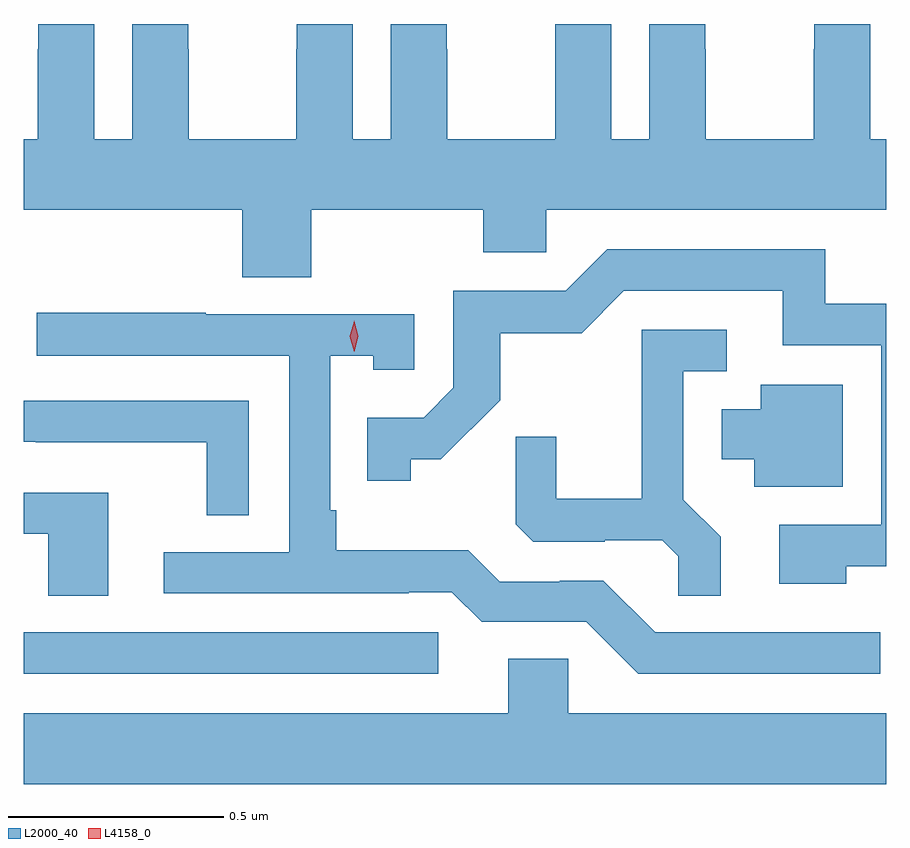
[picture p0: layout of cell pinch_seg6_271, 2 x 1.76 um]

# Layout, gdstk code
import gdstk
lib = gdstk.Library(unit=1e-6, precision=1e-09)
def R(c, l, rs):  # rectangles x0, y0, x1, y1
    for r in rs: c.add(gdstk.rectangle(r[:2], r[2:], *l))
def P(c, l, *ps):  # polygons
    for p in ps: c.add(gdstk.Polygon(p, *l))
L2000_40 = (2000, 40)
L4158_0 = (4158, 0)

pinch_seg6_271 = lib.new_cell('pinch_seg6_271')
R(pinch_seg6_271, L2000_40, [(780.345,986.22,781.306,986.316)])
P(pinch_seg6_271, L2000_40, [(781.011,987.296),(781.411,987.296),(781.411,987.198),(781.557,987.198),(781.557,987.296),(782.345,987.296),(782.345,987.46),(782.308,987.46),(782.308,987.727),(782.178,987.727),(782.178,987.668),(782.177,987.668),(782.177,987.46),(781.927,987.46),(781.927,987.668),(781.926,987.668),(781.926,987.727),(781.796,987.727),(781.796,987.46),(781.708,987.46),(781.708,987.727),(781.578,987.727),(781.578,987.668),(781.577,987.668),(781.577,987.46),(781.327,987.46),(781.327,987.668),(781.326,987.668),(781.326,987.727),(781.196,987.727),(781.196,987.46),(781.108,987.46),(781.108,987.727),(780.978,987.727),(780.978,987.668),(780.977,987.668),(780.977,987.46),(780.727,987.46),(780.727,987.668),(780.726,987.668),(780.726,987.727),(780.596,987.727),(780.596,987.46),(780.508,987.46),(780.508,987.727),(780.378,987.727),(780.378,987.668),(780.377,987.668),(780.377,987.46),(780.345,987.46),(780.345,987.296),(780.851,987.296),(780.851,987.139),(781.011,987.139)],
  [(782.253,986.469),(782.345,986.469),(782.345,987.078),(782.204,987.078),(782.204,987.204),(781.698,987.204),(781.602,987.108),(781.341,987.108),(781.341,986.883),(781.272,986.814),(781.141,986.814),(781.141,986.667),(781.242,986.667),(781.242,986.717),(781.312,986.717),(781.45,986.854),(781.45,987.01),(781.639,987.01),(781.737,987.108),(782.105,987.108),(782.105,986.982),(782.334,986.982),(782.334,986.565),(782.097,986.565),(782.097,986.429),(782.253,986.429)],
  [(782.332,986.316),(781.809,986.316),(781.689,986.436),(781.588,986.436),(781.588,986.433),(781.449,986.433),(781.376,986.506),(781.069,986.506),(781.069,986.599),(781.056,986.599),(781.056,986.957),(781.155,986.957),(781.155,986.925),(781.251,986.925),(781.251,987.054),(780.767,987.054),(780.767,987.057),(780.375,987.057),(780.375,986.958),(780.96,986.958),(780.96,986.502),(780.669,986.502),(780.669,986.406),(781.238,986.406),(781.238,986.409),(781.338,986.409),(781.407,986.34),(781.65,986.34),(781.77,986.22),(782.332,986.22)],
  [(781.961,986.537),(781.875,986.623),(781.875,986.922),(781.975,986.922),(781.975,987.018),(781.778,987.018),(781.778,986.626),(781.58,986.626),(781.58,986.769),(781.486,986.769),(781.486,986.567),(781.527,986.526),(781.692,986.526),(781.692,986.529),(781.826,986.529),(781.863,986.492),(781.863,986.401),(781.961,986.401)],
  [(782.245,986.89),(782.054,986.89),(782.054,986.833),(781.964,986.833),(781.964,986.717),(782.039,986.717),(782.039,986.654),(782.245,986.654)],
  [(780.867,986.853),(780.345,986.853),(780.345,986.758),(780.373,986.758),(780.373,986.757),(780.769,986.757),(780.769,986.587),(780.867,986.587)],
  [(780.541,986.64),(780.345,986.64),(780.345,986.544),(780.401,986.544),(780.401,986.401),(780.541,986.401)],
  [(782.345,986.128),(781.608,986.128),(781.608,986.255),(781.469,986.255),(781.469,986.128),(780.345,986.128),(780.345,985.964),(782.345,985.964)])
P(pinch_seg6_271, L4158_0, [(781.111,986.967),(781.111,986.967),(781.101,987.003),(781.111,987.038),(781.111,987.039),(781.111,987.038),(781.121,987.003),(781.111,986.967)])

lib.write_gds('pinch_seg6_271.gds')
